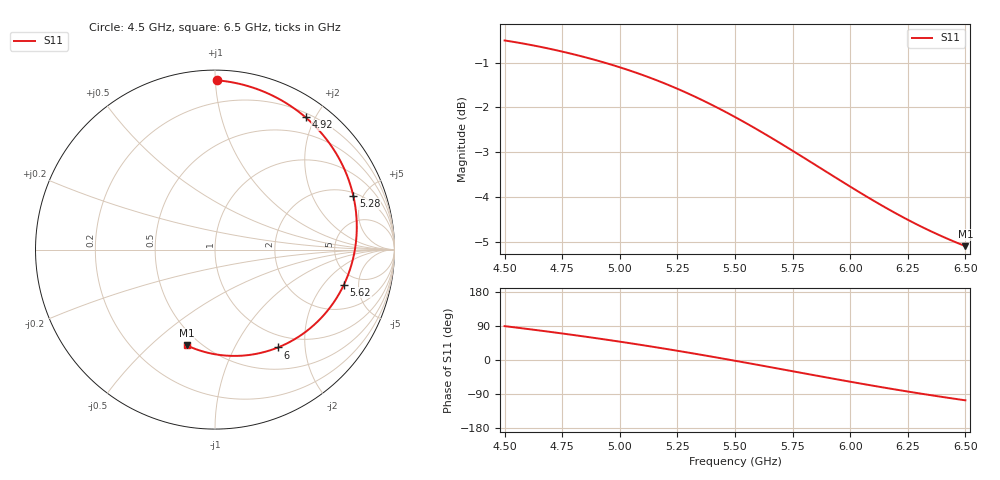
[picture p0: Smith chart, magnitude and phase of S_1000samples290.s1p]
! TOUCHSTONE file generated by CST MICROWAVE STUDIO
! Date and time: Thu Oct 27 15:49:10 2022
! Project name: L.cst
! Parameters = {Di=1.27; Epsilon_r=1.56; InnerDiameter=1.27; Length=2; Lf=10; Lg=60; OuterConductorThickness=0.2921; OuterDiameter=3.6; Wf=3; Wp=41.2; de=1.5; df=6.8; g=0.8; gx=1.46289; gy=3.41514; h=2.34; hf=1.524; px=9.32009; py=10.7309; w=9.7; wx=7.8572; wy=7.31573}
! Header version: 2018
! Port assignment regex: !\s*Touchstone port\s*([0-9]+)\s*=\s*(CST MWS port|CST DS port)\s*([0-9]+|Zmin|Zmax)\s*\(\"(.*)\"\)(\s*mode\s*([0-9]+))?.*
! Touchstone port assignment:
! Touchstone port 1 = CST MWS port 1 ("")
# GHz S DB R 50
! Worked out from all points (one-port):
!   101 points, 4.5 GHz to 6.5 GHz, reference 50 ohm
!   lowest |S11| = -5.1 dB at 6.5 GHz (marker M1), VSWR 3.51, Z = 21.3 - j32.9 ohm
!   |S11| at or under -10 dB: nowhere
!   S11 on the Smith chart (normalised r, x): 4.5 GHz: 0.06, +1.01; 4.92 GHz: 0.26, +1.87; 5.28 GHz: 2.22, +4.21; 5.62 GHz: 3.80, -3.32; 6 GHz: 0.81, -1.52; 6.5 GHz: 0.43, -0.66
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4.5  -0.51 89.4
4.58  -0.58 83.4
4.64  -0.63 78.8
4.76  -0.77 69.2
4.84  -0.87 62.5
4.92  -0.98 55.6
5  -1.11 48.4
5.08  -1.24 41.0
5.14  -1.36 35.2
5.2  -1.48 29.3
5.26  -1.61 23.3
5.28  -1.65 21.3
5.34  -1.79 15.1
5.4  -1.94 8.8
5.5  -2.21 -2.0
5.56  -2.39 -8.5
5.62  -2.56 -15.2
5.68  -2.75 -21.8
5.76  -3.00 -30.8
5.82  -3.19 -37.5
5.88  -3.38 -44.1
5.94  -3.57 -50.8
6  -3.77 -57.3
6.12  -4.13 -70.0
6.18  -4.31 -76.2
6.26  -4.53 -84.2
6.38  -4.83 -95.6
6.5  -5.09 -106.4
